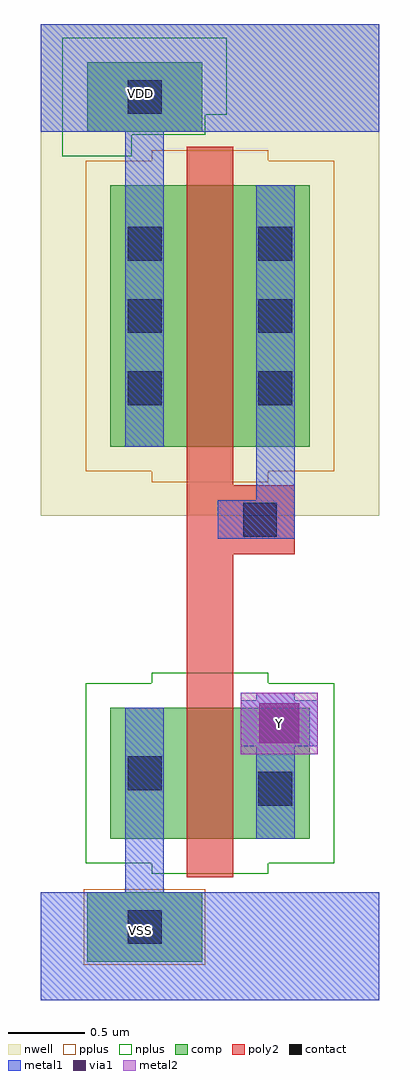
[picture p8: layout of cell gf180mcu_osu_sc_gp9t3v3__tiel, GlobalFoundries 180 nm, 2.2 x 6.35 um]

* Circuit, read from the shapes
.subckt gf180mcu_osu_sc_gp9t3v3__tiel VDD VSS Y
XM1 Y n1 VSS VSS nfet_03v3 w=0.85u l=0.3u
XM2 n1 n1 VDD VDD pfet_03v3 w=1.7u l=0.3u
.ends

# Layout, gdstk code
import gdstk
lib = gdstk.Library(unit=1e-6, precision=1e-09)
def R(c, l, rs):  # rectangles x0, y0, x1, y1
    for r in rs: c.add(gdstk.rectangle(r[:2], r[2:], *l))
def A(c, l, x, y, w, h, nx, ny, dx, dy):  # array of equal rectangles
    R(c, l, [(x+i*dx, y+j*dy, x+i*dx+w, y+j*dy+h) for i in range(nx) for j in range(ny)])
nwell = (21, 0)
comp = (22, 0)
poly2 = (30, 0)
pplus = (31, 0)
nplus = (32, 0)
contact = (33, 0)
metal1 = (34, 0)
via1 = (35, 0)
metal2 = (36, 0)

gf180mcu_osu_sc_gp9t3v3_ = lib.new_cell('gf180mcu_osu_sc_gp9t3v3__tiel')
R(gf180mcu_osu_sc_gp9t3v3_, nwell, [(0,3.15,2.2,6.35)])
R(gf180mcu_osu_sc_gp9t3v3_, comp, [(0.3,0.25,1.05,0.7), (0.45,1.05,1.75,1.9), (0.45,3.6,1.75,5.3), (0.3,5.65,1.05,6.1)])
R(gf180mcu_osu_sc_gp9t3v3_, poly2, [(0.95,0.8,1.25,2.9), (0.95,2.9,1.65,3.35), (0.95,3.35,1.25,5.55)])
R(gf180mcu_osu_sc_gp9t3v3_, pplus, [(0.28,0.23,1.07,0.72), (0.72,3.37,1.48,3.44), (0.29,3.44,1.91,5.46), (0.72,5.46,1.48,5.53)])
R(gf180mcu_osu_sc_gp9t3v3_, nplus, [(0.72,0.82,1.48,0.89), (0.29,0.89,1.91,2.06), (0.72,2.06,1.48,2.13), (0.14,5.49,0.59,5.63), (0.14,5.63,1.07,5.76), (0.14,5.76,1.21,6.26)])
A(gf180mcu_osu_sc_gp9t3v3_, contact, 0.565, 3.87, 0.22, 0.22, 1, 3, 0, 0.47)
A(gf180mcu_osu_sc_gp9t3v3_, contact, 1.415, 3.87, 0.22, 0.22, 1, 3, 0, 0.47)
R(gf180mcu_osu_sc_gp9t3v3_, contact, [(0.565,0.365,0.785,0.585), (1.415,1.265,1.635,1.485), (0.565,1.365,0.785,1.585), (1.315,3.015,1.535,3.235), (0.565,5.765,0.785,5.985)])
R(gf180mcu_osu_sc_gp9t3v3_, metal1, [(0,0,2.2,0.7), (0.55,0.7,0.8,1.9), (1.4,1.05,1.65,1.65), (1.3,1.65,1.8,1.95), (1.4,1.95,1.65,2), (1.15,3,1.65,3.25), (1.4,3.25,1.65,5.3), (0.55,3.6,0.8,5.65), (0,5.65,2.2,6.35)])
R(gf180mcu_osu_sc_gp9t3v3_, via1, [(1.42,1.67,1.68,1.93)])
R(gf180mcu_osu_sc_gp9t3v3_, metal2, [(1.3,1.6,1.8,2)])
gf180mcu_osu_sc_gp9t3v3_.add(gdstk.Label('VDD', (0.65,5.9), layer=34, texttype=10))
gf180mcu_osu_sc_gp9t3v3_.add(gdstk.Label('VSS', (0.65,0.45), layer=34, texttype=10))
gf180mcu_osu_sc_gp9t3v3_.add(gdstk.Label('Y', (1.55,1.8), layer=36, texttype=10))

lib.write_gds('gf180mcu_osu_sc_gp9t3v3__tiel.gds')
